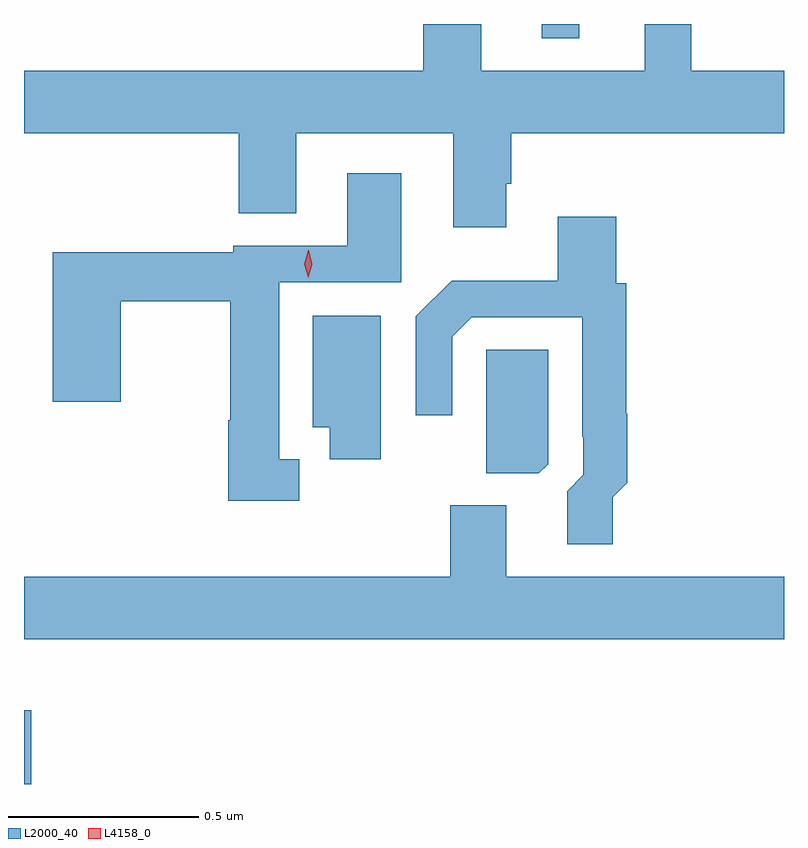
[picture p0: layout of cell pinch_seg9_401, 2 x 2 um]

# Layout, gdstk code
import gdstk
lib = gdstk.Library(unit=1e-6, precision=1e-09)
def R(c, l, rs):  # rectangles x0, y0, x1, y1
    for r in rs: c.add(gdstk.rectangle(r[:2], r[2:], *l))
def P(c, l, *ps):  # polygons
    for p in ps: c.add(gdstk.Polygon(p, *l))
L2000_40 = (2000, 40)
L4158_0 = (4158, 0)

pinch_seg9_401 = lib.new_cell('pinch_seg9_401')
R(pinch_seg9_401, L2000_40, [(281.806,1237.331,281.825,1237.525), (283.169,1239.293,283.267,1239.331)])
P(pinch_seg9_401, L2000_40, [(283.075,1238.911),(283.088,1238.911),(283.088,1239.044),(283.806,1239.044),(283.806,1239.208),(283.562,1239.208),(283.562,1239.331),(283.439,1239.331),(283.439,1239.208),(283.009,1239.208),(283.009,1239.331),(282.857,1239.331),(282.857,1239.208),(281.806,1239.208),(281.806,1239.044),(282.371,1239.044),(282.371,1238.833),(282.523,1238.833),(282.523,1239.044),(282.935,1239.044),(282.935,1238.796),(283.075,1238.796)],
  [(282.53,1238.186),(282.478,1238.186),(282.478,1238.652),(282.799,1238.652),(282.799,1238.938),(282.656,1238.938),(282.656,1238.748),(282.356,1238.748),(282.356,1238.731),(281.882,1238.731),(281.882,1238.337),(282.06,1238.337),(282.06,1238.602),(282.349,1238.602),(282.349,1238.288),(282.344,1238.288),(282.344,1238.076),(282.53,1238.076)],
  [(283.355,1238.085),(283.394,1238.124),(283.394,1238.306),(283.391,1238.306),(283.391,1238.649),(283.364,1238.649),(283.364,1238.824),(283.211,1238.824),(283.211,1238.656),(282.931,1238.656),(282.837,1238.562),(282.837,1238.301),(282.933,1238.301),(282.933,1238.508),(282.984,1238.559),(283.275,1238.559),(283.275,1238.245),(283.278,1238.245),(283.278,1238.145),(283.235,1238.102),(283.235,1237.962),(283.355,1237.962)],
  [(282.745,1238.563),(282.566,1238.563),(282.566,1238.27),(282.611,1238.27),(282.611,1238.186),(282.745,1238.186)],
  [(283.185,1238.172),(283.185,1238.474),(283.023,1238.474),(283.023,1238.363),(283.022,1238.363),(283.022,1238.149),(283.161,1238.149)],
  [(283.806,1237.876),(283.075,1237.876),(283.075,1238.064),(282.928,1238.064),(282.928,1237.876),(281.806,1237.876),(281.806,1237.712),(283.806,1237.712)])
P(pinch_seg9_401, L4158_0, [(282.554,1238.663),(282.554,1238.664),(282.544,1238.699),(282.554,1238.735),(282.554,1238.735),(282.555,1238.735),(282.564,1238.699),(282.554,1238.664)])

lib.write_gds('pinch_seg9_401.gds')
